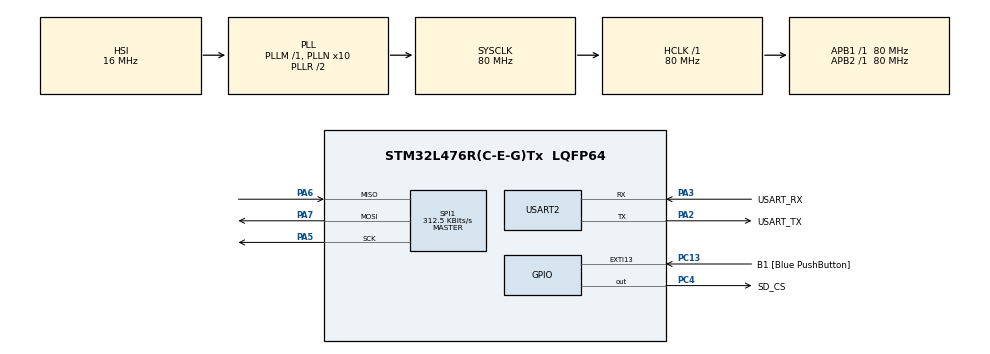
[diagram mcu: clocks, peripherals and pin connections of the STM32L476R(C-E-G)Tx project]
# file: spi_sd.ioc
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FATFS._FS_EXFAT=1
FATFS._MAX_SS=4096
FATFS._USE_LFN=1
FATFS._VOLUMES=2
Mcu.Family=STM32L4
Mcu.Name=STM32L476R(C-E-G)Tx
Mcu.Package=LQFP64
NVIC.PriorityGroup=NVIC_PRIORITYGROUP_4
PA13\ (JTMS-SWDIO).GPIO_Label=TMS
PA13\ (JTMS-SWDIO).Mode=Serial_Wire
PA13\ (JTMS-SWDIO).Signal=SYS_JTMS-SWDIO
PA14\ (JTCK-SWCLK).GPIO_Label=TCK
PA14\ (JTCK-SWCLK).Mode=Serial_Wire
PA14\ (JTCK-SWCLK).Signal=SYS_JTCK-SWCLK
PA2.GPIO_Label=USART_TX
PA2.GPIO_Mode=GPIO_MODE_AF_PP
PA2.GPIO_PuPd=GPIO_NOPULL
PA2.GPIO_Speed=GPIO_SPEED_FREQ_VERY_HIGH
PA2.Mode=Asynchronous
PA2.Signal=USART2_TX
PA3.GPIO_Label=USART_RX
PA3.GPIO_Mode=GPIO_MODE_AF_PP
PA3.GPIO_PuPd=GPIO_NOPULL
PA3.GPIO_Speed=GPIO_SPEED_FREQ_VERY_HIGH
PA3.Mode=Asynchronous
PA3.Signal=USART2_RX
PA5.Mode=Full_Duplex_Master
PA5.Signal=SPI1_SCK
PA6.Mode=Full_Duplex_Master
PA6.Signal=SPI1_MISO
PA7.Mode=Full_Duplex_Master
PA7.Signal=SPI1_MOSI
PB3\ (JTDO-TRACESWO).GPIO_Label=SWO
PB3\ (JTDO-TRACESWO).Signal=SYS_JTDO-SWO
PC13.GPIO_Label=B1 [Blue PushButton]
PC13.GPIO_ModeDefaultEXTI=GPIO_MODE_IT_FALLING
PC13.GPIO_PuPd=GPIO_NOPULL
PC13.Signal=GPXTI13
PC14-OSC32_IN\ (PC14).Mode=LSE-External-Oscillator
PC14-OSC32_IN\ (PC14).Signal=RCC_OSC32_IN
PC15-OSC32_OUT\ (PC15).Mode=LSE-External-Oscillator
PC15-OSC32_OUT\ (PC15).Signal=RCC_OSC32_OUT
PC4.GPIO_Label=SD_CS
PC4.Signal=GPIO_Output
PH0-OSC_IN\ (PH0).Signal=RCC_OSC_IN
PH1-OSC_OUT\ (PH1).Signal=RCC_OSC_OUT
ProjectManager.HeapSize=0x200
ProjectManager.StackSize=0x400
ProjectManager.TargetToolchain=STM32CubeIDE
RCC.ADCFreq_Value=64000000
RCC.AHBFreq_Value=80000000
RCC.APB1Freq_Value=80000000
RCC.APB1TimFreq_Value=80000000
RCC.APB2Freq_Value=80000000
RCC.APB2TimFreq_Value=80000000
RCC.CortexFreq_Value=80000000
RCC.HCLKFreq_Value=80000000
RCC.HSE_VALUE=8000000
RCC.HSI_VALUE=16000000
RCC.MSI_VALUE=4000000
RCC.PLLN=10
RCC.PLLSourceVirtual=RCC_PLLSOURCE_HSI
RCC.SYSCLKFreq_VALUE=80000000
RCC.SYSCLKSource=RCC_SYSCLKSOURCE_PLLCLK
RCC.USBFreq_Value=64000000
RCC.VCOOutputFreq_Value=160000000
SPI1.BaudRatePrescaler=SPI_BAUDRATEPRESCALER_256
SPI1.CalculateBaudRate=312.5 KBits/s
SPI1.DataSize=SPI_DATASIZE_8BIT
SPI1.Direction=SPI_DIRECTION_2LINES
SPI1.Mode=SPI_MODE_MASTER
SPI1.VirtualType=VM_MASTER
USART2.VirtualMode-Asynchronous=VM_ASYNC
VP_FATFS_VS_Generic.Mode=User_defined
board=NUCLEO-L476RG

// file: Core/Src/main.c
/* USER CODE BEGIN Header */
/**
  ******************************************************************************
  * @file           : main.c
  * @brief          : Main program body
  ******************************************************************************
  * @attention
  *
  * Copyright (c) 2025 STMicroelectronics.
  * All rights reserved.
  *
  * This software is licensed under terms that can be found in the LICENSE file
  * in the root directory of this software component.
  * If no LICENSE file comes with this software, it is provided AS-IS.
  *
  ******************************************************************************
  */
/* USER CODE END Header */
#include "main.h"
#include "fatfs.h"
#include<stdio.h>
#include<string.h>

SPI_HandleTypeDef hspi1;       // SPI handle for SD card
UART_HandleTypeDef huart2;     // UART handle for debugging

void SystemClock_Config(void);
static void MX_GPIO_Init(void);
static void MX_USART2_UART_Init(void);
static void MX_SPI1_Init(void);

/* USER CODE BEGIN 0 */
// FATFS variables for file system
FATFS fs;
FIL fil;
FRESULT fresult;
char buffer[1024];              // General buffer

UINT br,bw;                     // Bytes read/written
FATFS *pfs;
DWORD fre_clust;
uint32_t total, free_space;

// UART helper function
void send_uart(char *string)
{
	uint8_t len=strlen(string);
	HAL_UART_Transmit(&huart2,(uint8_t*)string,len,2000); // Transmit string via UART
}
// Calculate string length manually
int bufsize(char *buf)
{
	int i=0;
	while(*buf++!='\0')
		i++;
	return i;
}
// Clear buffer
void bufclear(void)
{
	for(int i=0;i<1024;i++)
		buffer[i]='\0';
}
/* USER CODE END 0 */

int main(void)
{

  /* MCU Configuration--------------------------------------------------------*/

  /* Reset of all peripherals, Initializes the Flash interface and the Systick. */
  HAL_Init();

  /* Configure the system clock */
  SystemClock_Config();

  /* Initialize all configured peripherals */
  MX_GPIO_Init();
  MX_USART2_UART_Init();
  MX_SPI1_Init();
  extern Diskio_drvTypeDef SD_Driver;
  FATFS_LinkDriver(&SD_Driver, "");
  MX_FATFS_Init();

  /* USER CODE BEGIN 2 */
  /* Test SPI communication */
  uint8_t tx = 0xFF, rx;
  HAL_GPIO_WritePin(GPIOC, GPIO_PIN_4, GPIO_PIN_RESET); // CS LOW
  HAL_SPI_TransmitReceive(&hspi1, &tx, &rx, 1, HAL_MAX_DELAY); // SPI test
  HAL_GPIO_WritePin(GPIOC, GPIO_PIN_4, GPIO_PIN_SET);   // CS HIGH
  HAL_Delay(10);

   // Mount SD card
  fresult = f_mount(&fs, "", 1);
  if (fresult != FR_OK)
  {
      sprintf(buffer, "Mount error: %d\r\n", fresult);
      send_uart(buffer);
  }
  else
    send_uart("SD_CARD mount success\r\n");
  // Get free space and total size
  f_getfree("", &fre_clust, &pfs);
  total=(uint32_t)((pfs->n_fatent-2)*pfs->csize*0.5);
  sprintf(buffer,"SD CARD Total Size: |t%lu\r\n",total);
  send_uart(buffer);
  bufclear();

  free_space=(uint32_t)(fre_clust*pfs->csize*0.5);// Free space in KB
  sprintf(buffer,"SD CARD Free space: \t%lu\r\n",free_space);
  send_uart(buffer);
  // Open or create file
  fresult = f_open(&fil, "file1.txt", FA_OPEN_ALWAYS | FA_WRITE);
  //f_lseek(&fil, f_size(&fil));  // Move to end for append

  if (fresult == FR_OK) {
      sprintf(buffer, "Log: Time %lu\r\n", HAL_GetTick());
      f_write(&fil, buffer, strlen(buffer), &bw);
      f_close(&fil);
  }
  else
  {
      send_uart("File open error\r\n");
  }

  if (fresult == 0)
    send_uart("Write success\r\n");
  else
    send_uart("Write failed\r\n");

  fresult=f_close(&fil);
  send_uart("file1.txt created\r\n");
   // Read file content
  fresult=f_open(&fil,"file1.txt",FA_READ);
  f_gets(buffer,sizeof(buffer),&fil);
  send_uart(buffer);
  f_close(&fil);
  bufclear();
  /* USER CODE END 2 */

  /* Infinite loop */
  while (1)
  {

  }
}

void SystemClock_Config(void)
{
  RCC_OscInitTypeDef RCC_OscInitStruct = {0};
  RCC_ClkInitTypeDef RCC_ClkInitStruct = {0};

  /** Configure the main internal regulator output voltage
  */
  if (HAL_PWREx_ControlVoltageScaling(PWR_REGULATOR_VOLTAGE_SCALE1) != HAL_OK)
  {
    Error_Handler();
  }

  /** Initializes the RCC Oscillators according to the specified parameters
  * in the RCC_OscInitTypeDef structure.
  */
  RCC_OscInitStruct.OscillatorType = RCC_OSCILLATORTYPE_HSI;
  RCC_OscInitStruct.HSIState = RCC_HSI_ON;
  RCC_OscInitStruct.HSICalibrationValue = RCC_HSICALIBRATION_DEFAULT;
  RCC_OscInitStruct.PLL.PLLState = RCC_PLL_ON;
  RCC_OscInitStruct.PLL.PLLSource = RCC_PLLSOURCE_HSI;
  RCC_OscInitStruct.PLL.PLLM = 1;
  RCC_OscInitStruct.PLL.PLLN = 10;
  RCC_OscInitStruct.PLL.PLLP = RCC_PLLP_DIV7;
  RCC_OscInitStruct.PLL.PLLQ = RCC_PLLQ_DIV2;
  RCC_OscInitStruct.PLL.PLLR = RCC_PLLR_DIV2;
  if (HAL_RCC_OscConfig(&RCC_OscInitStruct) != HAL_OK)
  {
    Error_Handler();
  }

  /** Initializes the CPU, AHB and APB buses clocks
  */
  RCC_ClkInitStruct.ClockType = RCC_CLOCKTYPE_HCLK|RCC_CLOCKTYPE_SYSCLK
                              |RCC_CLOCKTYPE_PCLK1|RCC_CLOCKTYPE_PCLK2;
  RCC_ClkInitStruct.SYSCLKSource = RCC_SYSCLKSOURCE_PLLCLK;
  RCC_ClkInitStruct.AHBCLKDivider = RCC_SYSCLK_DIV1;
  RCC_ClkInitStruct.APB1CLKDivider = RCC_HCLK_DIV1;
  RCC_ClkInitStruct.APB2CLKDivider = RCC_HCLK_DIV1;

  if (HAL_RCC_ClockConfig(&RCC_ClkInitStruct, FLASH_LATENCY_4) != HAL_OK)
  {
    Error_Handler();
  }
}

static void MX_SPI1_Init(void)
{

  /* SPI1 parameter configuration*/
  hspi1.Instance = SPI1;
  hspi1.Init.Mode = SPI_MODE_MASTER;
  hspi1.Init.Direction = SPI_DIRECTION_2LINES;
  hspi1.Init.DataSize = SPI_DATASIZE_8BIT;
  hspi1.Init.CLKPolarity = SPI_POLARITY_LOW;
  hspi1.Init.CLKPhase = SPI_PHASE_1EDGE;
  hspi1.Init.NSS = SPI_NSS_SOFT;
  hspi1.Init.BaudRatePrescaler = SPI_BAUDRATEPRESCALER_256;
  hspi1.Init.FirstBit = SPI_FIRSTBIT_MSB;
  hspi1.Init.TIMode = SPI_TIMODE_DISABLE;
  hspi1.Init.CRCCalculation = SPI_CRCCALCULATION_DISABLE;
  hspi1.Init.CRCPolynomial = 7;
  hspi1.Init.CRCLength = SPI_CRC_LENGTH_DATASIZE;
  hspi1.Init.NSSPMode = SPI_NSS_PULSE_ENABLE;
  if (HAL_SPI_Init(&hspi1) != HAL_OK)
  {
    Error_Handler();
  }

}

static void MX_USART2_UART_Init(void)
{

  huart2.Instance = USART2;
  huart2.Init.BaudRate = 115200;
  huart2.Init.WordLength = UART_WORDLENGTH_8B;
  huart2.Init.StopBits = UART_STOPBITS_1;
  huart2.Init.Parity = UART_PARITY_NONE;
  huart2.Init.Mode = UART_MODE_TX_RX;
  huart2.Init.HwFlowCtl = UART_HWCONTROL_NONE;
  huart2.Init.OverSampling = UART_OVERSAMPLING_16;
  huart2.Init.OneBitSampling = UART_ONE_BIT_SAMPLE_DISABLE;
  huart2.AdvancedInit.AdvFeatureInit = UART_ADVFEATURE_NO_INIT;
  if (HAL_UART_Init(&huart2) != HAL_OK)
  {
    Error_Handler();
  }

}

static void MX_GPIO_Init(void)
{
  GPIO_InitTypeDef GPIO_InitStruct = {0};

  /* GPIO Ports Clock Enable */
  __HAL_RCC_GPIOC_CLK_ENABLE();
  __HAL_RCC_GPIOH_CLK_ENABLE();
  __HAL_RCC_GPIOA_CLK_ENABLE();
  __HAL_RCC_GPIOB_CLK_ENABLE();

  /*Configure GPIO pin Output Level */
  HAL_GPIO_WritePin(SD_CS_GPIO_Port, SD_CS_Pin, GPIO_PIN_RESET);

  /*Configure GPIO pin : B1_Pin */
  GPIO_InitStruct.Pin = B1_Pin;
  GPIO_InitStruct.Mode = GPIO_MODE_IT_FALLING;
  GPIO_InitStruct.Pull = GPIO_NOPULL;
  HAL_GPIO_Init(B1_GPIO_Port, &GPIO_InitStruct);

  /*Configure GPIO pin : SD_CS_Pin */
  GPIO_InitStruct.Pin = SD_CS_Pin;
  GPIO_InitStruct.Mode = GPIO_MODE_OUTPUT_PP;
  GPIO_InitStruct.Pull = GPIO_NOPULL;
  GPIO_InitStruct.Speed = GPIO_SPEED_FREQ_LOW;
  HAL_GPIO_Init(SD_CS_GPIO_Port, &GPIO_InitStruct);

}

void Error_Handler(void)
{
  __disable_irq();
  while (1)
  {
  }
}
